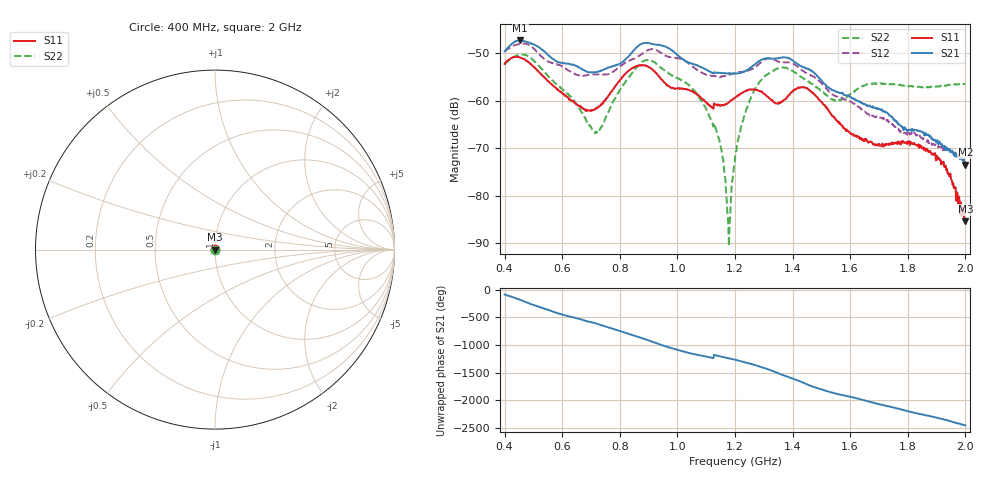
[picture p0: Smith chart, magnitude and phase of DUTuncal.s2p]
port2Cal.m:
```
clear all
clc


%  %%%%%%%%%%%%%%%%%%%%%%%%%%%%%%%%%%%%%%%%%%%%%% Calibrated using garbage VNA  and it is software  

       
fid_meas = fopen('dut_correct_data_pocket_system.s2p','r'); 
data_meas = textscan(fid_meas,'%f %f %f %f %f %f %f  %f %f %f %f','HeaderLines',4);
formated_data_meas = cell2mat(data_meas);

real_meas=formated_data_meas(:,2);
imag_meas=formated_data_meas(:,3);
VNAcorS11(:,1) = real_meas+j*imag_meas;

real_meas2=formated_data_meas(:,4);
imag_meas2=formated_data_meas(:,5);
VNAcorS21(:,1) = real_meas2+j*imag_meas2;

real_meas3=formated_data_meas(:,6);
imag_meas3=formated_data_meas(:,7);
VNAcorS12(:,1) = real_meas3+j*imag_meas3;

real_meas4=formated_data_meas(:,8);
imag_meas4=formated_data_meas(:,9);
VNAcorS22(:,1) = real_meas4+j*imag_meas4;




%%%%% Declaration in the table
C0=-4.3* 1e-15
C1= 0.1 * 1e-27
C2=-11.5*1e-36
C3=0.12*1e-45


%%%%%%%%%%%%%%%%%%%%%%%%%%%%%%%%%%%%%%%%%%%%%%short calc

fid1 = fopen('short_p1.s2p','r'); 
data = textscan(fid1,'%f %f %f %f %f %f %f  %f %f %f %f','HeaderLines',4);
formated_data = cell2mat(data);

real1=formated_data(:,2);
imag1=formated_data(:,3);
Gs1short(:,1) = real1+j*imag1;

        f=formated_data(:,1);

%%%%% mm to m conversion of lenth
l=8.4973 * 10^-3

% %%%%%%%%%%%%%%%%%%%%%%%%%%%%%%%%%
% f=1.5*10^9:0.006875000*10^9:7*10^9    

c= physconst('LightSpeed')
z0=50
%%%%%%%%%%%%%%%%%%%%%%%%%%%%%%%%%%%%%%%
lambda = c./f
Beta=(2*pi)./lambda
%%%%%%%%%%%%%%%%%%%%%%%%%%%%%%%%%%%%%%%%%%%%%%%%%%%%%%%%%%%%%%%%% reflection of open

Ce= (C0) + (C1.*f)+(C2*f.^2)+(C3*f.^3)

Grefl_open = rot90 (((1-2*j.*pi.*f.*Ce.*z0)./(1+2.*pi.*Ce.*z0)).*exp(-2j.*Beta.*l))
%%%%%%%%%%%%%%%%%%%%%%%%%%%%%%%%%%%%%%%%%%%%%%%%%%%%%%%%%%%%%%%%%%%%%%%%%%%%%%%%%%%%%%%%%%%%%%%%%%%%%%%%%%%%%%%%%%%%%%%%%%%%%%%%%%
%%%%%%%%%%%%%%%%%%%%%%%%%%%%%%%%%%%%%%%%%%%%%%short calc

L=0

Grefl_short = rot90( ((j*2.*pi.*f.*L - z0)./(j.*2.*pi.*L + z0)).*exp(-2j.*Beta.*l) )
        
 %%%%%%%%%%%%%%%%%%%%%%%%%%%%%%%%%%%%%%%%%%%%%%open calc       
fid2 = fopen('open_p1.s2p','r'); 
data2 = textscan(fid2,'%f %f %f %f %f %f %f  %f %f %f %f','HeaderLines',4);
formated_data2 = cell2mat(data2);

real2=formated_data2(:,2);
imag2=formated_data2(:,3);
Gs2open(:,1) = real2+j*imag2;
        
 %%%%%%%%%%%%%%%%%%%%%%%%%%%%%%%%%%%%%%%%%%%%%%load      
        fid3 = fopen('load_p1.s2p','r'); 
data8 = textscan(fid3,'%f %f %f %f %f %f %f  %f %f %f %f','HeaderLines',4);
formated_data8 = cell2mat(data8);

real9=formated_data8(:,2);
imag9=formated_data8(:,3);
Gs3load(:,1) = real9+j*imag9;
              %%%%%%%%%%%%%%%%%%%%%%%%%%%%%%%%%%%%%%%%%%%%%%  
%%%%%%%%%%%%%%%%%%%%%%%%%%%%%%%%%%%%%%%%%%%%%%
%%%%%%%%%%%%%%%%%%%%%%%%%%%%%%%%%%%%%%%%%%%%%%%%%%%%%%%%%%%%%%%%%%%%%%%%%%%%%%%%%%%%%%%%%%%%
  %%%%%%%%%%%%%%%%%%%%%%%%%%%%%%%%%%%%%%%%%%%%%%Gdutm     UNCAL data of the
  %%%%%%%%%%%%%%%%%%%%%%%%%%%%%%%%%%%%%%%%%%%%%%two port
fid4 = fopen('DUTuncal.s2p','r'); 
data4 = textscan(fid4,'%f %f %f %f %f %f %f  %f %f %f %f','HeaderLines',4);
formated_data4 = cell2mat(data4);
%%%%%%%%%%%%%%%%%%%%%%%%%%%%%%%%%%%%%%%%%%%%%%
real4=formated_data4(:,2);
imag4=formated_data4(:,3);
Gdutm(:,1) = real4+j*imag4;  
Gmes(:,1)= real4+j*imag4;  %%%%%%s11
%%%%%%%%%%%%%%%%%%%%%%%%%%%%%%%%%%%%%%%%%%%%%%
%%%%%%%%%%%%%%%%%%%%%%%%%%%%%%%%%%%%%%%%%%%%%%
realmescon=formated_data4(:,4); 
imagmescon=formated_data4(:,5);
Gmescon(:,1) = realmescon+j*imagmescon; %%%%%%s21
%%%%%%%%%%%%%%%%%%%%%%%%%%%%%%%%%%%%%%%%%%%%%%
realGmescon_r=formated_data4(:,6);
imagGmescon_r=formated_data4(:,7);
Gmescon_r(:,1) = realGmescon_r+j*imagGmescon_r; %%%%%%s12
%%%%%%%%%%%%%%%%%%%%%%%%%%%%%%%%%%%%%%%%%%%%%%
realGmes_r=formated_data4(:,8);
imagGmes_r=formated_data4(:,9);
Gmes_r(:,1) = realGmes_r+j*imagGmes_r;
Gdutm_r(:,1) = realGmes_r+j*imagGmes_r; %%%%%%s22
%%%%%%%%%%%%%%%%%%%%%%%%%%%%%%%%%%%%%%%%%%%%%%
%%%%%%%%%%%%%%%%%%%%%%%%%%%%%%%%%%%%%%%%%%%%%%
%%%%%%%%%%%%%%%%%%%%%%%%%%%%%%%%%%%%%%%%%%%%%%
%%%%%%%%%%%%%%%%%%%%%%%%%%%%%%%%%%%%%%%%%%%%%%
%%%%%%%%%%%%%%%%%%%%%%%%%%%%%%%%%%%%%%%%%%%%%%
%%%%%%%%%%%%%%%%%%%%%%%%%%%%%%%%%%%%%%%%%%%%%%%%%%%%%%%%%%%%%%%%%%%%%%%%%%%%%%%%%%
Grefl_load=zeros(length(f),1);  %Grefl_load=1 Cannot be one




for i=1:length(f)   %The index has to have two terms removed because it starts with 1 and 1 already
        A=[1,Grefl_short(i).*Gs1short(i),-Grefl_short(i);1,Grefl_open(i).*Gs2open(i),-Grefl_open(i);1,Grefl_load(i).*Gs3load(i),-Grefl_load(i)];
        B=[Gs1short(i);Gs2open(i);Gs3load(i)];
        X=linsolve(A,B); %Calculated error terms
        e00(i,1)=X(1,1); %Directivity
        e11(i,1)=X(2,1); %Source Match
        delta_e(i,1)=X(3,1);
end

e10e01=(e00.*e11)-delta_e; %Reflection Tracking


%%%%%%%%%%%%%%%%%%%%%%%%%%%%%%%%%%%%Final part
R=(Gdutm-e00)./((Gdutm.*e11)-delta_e); %Real correct S11



 %%%%%%%%%%%%%%%%%%%%%%%%%%%%%%%%%%%%%%%%%%%%%%Gdutm  
 %%%%%%%%%%%%%%%%%%%%%%%%%%%%%%%%%%%%%%%%%%%%%%Gdutm  
 %%%%%%%%%%%%%%%%%%%%%%%%%%%%%%%%%%%%%%%%%%%%%%Gdutm     
% fid5 = fopen('DUTcal.s2p','r');  
% data5 = textscan(fid5,'%f %f %f %f %f %f %f  %f %f %f %f','HeaderLines',4);
% formated_data5 = cell2mat(data5);
% 
% real5=formated_data5(:,2);
% imag5=formated_data5(:,3);
% Gmes(:,1) = real5+j*imag5; %%%%measured calibrated
% 
%  
% figure(1)
% plot(f/10^9,db(R),'-red',f/10^9,db(Gmes),'-blue',f/10^9,db(Gdutm),'-black')
% grid on
% legend('Corrected from Process','Measured in reality','not calibrated')
% xlabel('Frequency in GHz')
% ylabel('Magnitude')
% 
% figure(2)
% plot(f/10^9,unwrap(angle(R)),'-red',f/10^9,unwrap(angle(Gmes)),'-blue',f/10^9,unwrap(angle(Gdutm)),'-black')
% grid on
% legend('Corrected from Process','Measured in reality','not calibrated')
% xlabel('Frequency in GHz')
% ylabel('Angle')
% %e10e01=e00*e11-delta_e
% %Gdut= (1/e11)*((e00-Gdutm)/(e00-((e10e01)/e11)-Gdutm))
% 

% figure(3)
% plot(f/10^9,db(e00),'-red',f/10^9,db(e11),'-blue',f/10^9,db(delta_e),'-black')
% grid on
% legend('Directivity','Source Match','Tracking?')
% xlabel('Frequency in GHz')
% ylabel('Angle')
 %%%%%%%%%%%%%%%%%%%%%%%%%%%%%%%%%%%%%%%%%%%%%% %%%%%%%%%%%%%%%%%%%%%%%%%%%%%%%%%%%%%%%%%%%%%%
  %%%%%%%%%%%%%%%%%%%%%%%%%%%%%%%%%%%%%%%%%%%%%%
   %%%%%%%%%%%%%%%%%%%%%%%%%%%%%%%%%%%%%%%%%%%%%%
    %%%%%%%%%%%%%%%%%%%%%%%%%%%%%%%%%%%%%%%%%%%%%%
     %%%%%%%%%%%%%%%%%%%%%%%%%%%%%%%%%%%%%%%%%%%%%%
      %%%%%%%%%%%%%%%%%%%%%%%%%%%%%%%%%%%%%%%%%%%%%%



      % %%%%%%%%%%%%%%%%%%%%%%%%%%%%%%%%%%%%%%%%%%%%%%
% 
% %%%%%%%Connect ports with termination to get e30 e03 Leakage (good VNA no need
% %%%%%%%to connect termination
% 
%  filenames6='p1p2 uncal no bridge for s21.s2p';
%  data6 = read(rfdata.data,filenames6);
%     s_params6 = extract(data6,'S_PARAMETERS',50);

    %%%%%%%%%%%%%%%%%%%%%%%%%%%%%%%%%%%%%%%%%%%%%%%%%%%%%%%
%         e30(:,1) = s_params6(2,1,:); %Leakage
%         e03_r(:,1) = s_params6(1,2,:); % Reverse leakage FOR PORT 2

        e30(:,1) = zeros(length(f),1); %Leakage
        e03_r(:,1) = zeros(length(f),1); % Reverse leakage FOR PORT 2

 %%%%%%%%%%%%%%%%%%%%%%%%%%%%%%%%%%%%%%%%%%%%%%%%%%%%%%



%%%%%%Connect ports together -> P1 + P2
fid5 = fopen('pocket_thru.s2p','r'); 
    data5 = textscan(fid5,'%f %f %f %f %f %f %f  %f %f %f %f','HeaderLines',4);
formated_data5 = cell2mat(data5);

realS11m=formated_data5(:,2);
imagS11m=formated_data5(:,3);

realS21m=formated_data5(:,4);
imagS21m=formated_data5(:,5);

realS12m=formated_data5(:,6);
imagS12m=formated_data5(:,7);

realS22m=formated_data5(:,8);
imagS22m=formated_data5(:,9);

%%%%%%%%%%%%%%%%%%%%%%%%%%%%%%%%%%%%%%%%%%%%%%%%%%%%%%%
S11M(:,1) = realS11m+j*imagS11m;
%%%%%%%%%%%%%%%%%%%%%%%%%%%%%%%%%%%%%%%%%%%%%%%%%%%%%%%
S21M(:,1) = realS21m+j*imagS21m;
%%%%%%%%%%%%%%%%%%%%%%%%%%%%%%%%%%%%%%%%%%%%%%%%%%%%%%%
S12M(:,1) = realS12m+j*imagS12m;
%%%%%%%%%%%%%%%%%%%%%%%%%%%%%%%%%%%%%%%%%%%%%%%%%%%%%%%
S22M(:,1) = realS22m+j*imagS22m;
%%%%%%%%%%%%%%%%%%%%%%%%%%%%%%%%%%%%%%%%%%%%%%%%%%%%%%%

%%%%%%%%%%%%%%%%%%%%%%%%%%%%%%%%%%%%%%%%%%%%%%%%%%%%%%%
e22=(S11M-e00)./(S11M.*e11-delta_e) %Port 2 match forward
e10e32=(S21M-e30).*(1-e11.*e22)   %transmission tracking
%%%%%%%%%%%%%%%%%%%%%%%%%%%%%%%%%%%%%%%%%%%%%%%%%%%%%%%

% %%%%%%%%%%%%%%%%%%%%%%%%%%%%%%%%%%%%%%%%%%%%%%%%%%%%%%%%%%%%
% %%%%%%%%%%%%%%%%%%%%%%%%%%%%%%%%%%%%%%%%%%%%%%%%%%%%%%%%%%%%
% %%%%%%%%%%%%%%%%%%%%%%%%%%%%%%%%%%%%%%%%%%%%%%%%%%%%%%%%%%%%
% %%%%%%%%%%%%%%%%%%%%%%%%%%%%%%%%%%%%%%%%%%%%%%%%%%%%%%%%%%%%
% %%%%%%%%%%%%%%%%%%%%%%%%%%%%%%%%%%%%%%%%%%%%%%%%%%%%%%%%%%%%
% %%%%%%%%%%%%%%%%%%%%%%%%%%%%%%%%%%%%%%%%%%%%%%%%%%%%%%%%%%%%
% %%%%%%%%%%%%%%%%%%%%%%%%%%%%%%%%%%%%%%%%%%%%%%%%%%%%%%%%%%%%
% %%%%%%%%%%%%%%%%%%%%%%%%%%%%%%%%%%%%%%%%%%%%%%%%%%%%%%%%%%%%
% %%%%%%%%%%%%%%%%%%%%%%%%%%%%%%%%%%%%%%%%%%%%%%%%%%%%%%%%%%%%
% %%%%%%%%%%%%%%%%%%%%%%%%%%%%%%%%%%%%%%%%%%%%%%%%%%%%%%%%%%%%
% %%%%%%%%%%%%%%%%%%%%%%%%%%%%%%%%%%%%%%%%%%%%%%%%%%%%%%%%%%%%
% %%%%%%%%%%%%%%%%%%%%%%%%%%%%%%%%%%%%%%%%%%%%%%%%%%%%%%%%%%%%
% %%%%%%%%%%%%%%%%%%%%%%%%%%%%%%%%%%%%%%%This is forward mode, now need
% %%%%%%%%%%%%%%%%%%%%%%%%%%%%%%%%%%%%%%%reverse

fidsp2 = fopen('short_p2.s2p','r'); 
datasp2  = textscan(fidsp2 ,'%f %f %f %f %f %f %f  %f %f %f %f','HeaderLines',4);
formated_datasp2 = cell2mat(datasp2);

realsp2=formated_datasp2(:,8);
imagsp2=formated_datasp2(:,9);
Gs4short(:,1)  = realsp2+j*imagsp2;




fidop2 = fopen('open_p2.s2p','r'); 
dataop2 = textscan(fidop2,'%f %f %f %f %f %f %f  %f %f %f %f','HeaderLines',4);
formated_dataop2 = cell2mat(dataop2);
realop2=formated_dataop2(:,8);
imagop2=formated_dataop2(:,9);
Gs5open(:,1)   = realop2+j*imagop2;


fidlp2 = fopen('load_p2.s2p','r'); 
datalp2 = textscan(fidlp2,'%f %f %f %f %f %f %f  %f %f %f %f','HeaderLines',4);
formated_datalp2 = cell2mat(datalp2);
reallp2=formated_datalp2(:,8);
imaglp2=formated_datalp2(:,9);
Gs6load(:,1)   = reallp2+j*imaglp2;



% 
%%%%%%%%%%%%%%%%%%%%%%%%%%%%%%%%%%%%%%%%%%Reverse mode

        for i=1:length(f)   
        C=[1,Grefl_short(i).*Gs4short(i),-Grefl_short(i);1,Grefl_open(i).*Gs5open(i),-Grefl_open(i);1,Grefl_load(i).*Gs6load(i),-Grefl_load(i)];
        D=[Gs4short(i);Gs5open(i);Gs6load(i)];
        Y=linsolve(C,D); %Calculated error terms
        e33_r(i,1)=Y(1,1); %Directivity
        e11_r(i,1)=Y(2,1); %Source Match
        delta_e_r(i,1)=Y(3,1);
end


Rs22=(Gdutm_r-e33_r)./((Gdutm_r.*e11_r)-delta_e_r);
%%%%%%%%%%%%%%%%%%%%%%%%%%%%%%%%%%%%%%%%%%%%%%%  
e23e32_r=(e33_r.*e11_r)-delta_e_r; %Reflection Tracking reverse
e22_r=(S22M-e33_r)./(S22M.*e11_r-delta_e_r) %%%% Port 2 match reverse 
e23e01_r=(S12M-e03_r).*(1-e11_r.*e22_r) %%%% Transmission tracking reverse


%%%%%%%%%%%%%%%%%%%%%%%%%%%%%%%%%%%%%%%REVERSE MODE ENDS HERE
%%%%%%%%%%%%%%%%%%%%%%%%%%%%%%%%%%%%%%%%%%%%%

% %%%%%%%%%%%%%%%%%%%%%%%%%%%%%%%%%%%%%%%%%%%%%%%%%%%%%%%%%%%%
% %%%%%%%%%%%%%%%%%%%%%%%%%%%%%%%%%%%%%%%%%%%%%%%%%%%%%%%%%%%%
% %%%%%%%%%%%%%%%%%%%%%%%%%%%%%%%%%%%%%%%%%%%%%%%%%%%%%%%%%%%%
% %%%%%%%%%%%%%%%%%%%%%%%%%%%%%%%%%%%%%%%%%%%%%%%%%%%%%%%%%%%%
% %%%%%%%%%%%%%%%%%%%%%%%%%%%%%%%%%%%%%%%%%%%%%%%%%%%%%%%%%%%%
% %%%%%%%%%%%%%%%%%%%%%%%%%%%%%%%%%%%%%%%%%%%%%%%%%%%%%%%%%%%%
% %%%%%%%%%%%%%%%%%%%%%%%%%%%%%%%%%%%%%%%%%%%%%%%%%%%%%%%%%%%%
% %%%%%%%%%%%%%%%%%%%%%%%%%%%%%%%%%%%%%%%%%%%%%%%%%%%%%%%%%%%%
% %%%%%%%%%%%%%%%%%%%%%%%%%%%%%%%%%%%%%%%%%%%%%%%%%%%%%%%%%%%%
% %%%%%%%%%%%%%%%%%%%%%%%%%%%%%%%%%%%%%%%%%%%%%%%%%%%%%%%%%%%%
% %%%%%%%%%%%%%%%%%%%%%%%%%%%%%%%%%%%%%%%%%%%%%%%%%%%%%%%%%%%%
% %%%%%%%%%%%%%%%%%%%%%%%%%%%%%%%%%%%%%%%%%%%%%%%%%%%%%%%%%%%%
% %%%%%%%%%%%%%%%%%%%%%%%%%%%%%%%%%%%%%%%Measured Sparameters starts here
D=(1+((Gmes-e00)./e10e01).*e11).*(1+((Gmes_r-e33_r)./e23e32_r).*e22_r)...
    -((Gmescon-e30)./(e10e32)).*((Gmescon_r-e03_r)./(e23e01_r)).*e22.*e11_r    ;


% %%%%%%%%%%%%%%%%%%%%%%%%%%%%%%%%%%%%%%%
S11cor=((Gmes-e00)./e10e01).*(1+((Gmes_r-e33_r)./e23e32_r).*e22_r)-e22.*((Gmescon-e30)./(e10e32)).*((Gmescon_r-e03_r)./(e23e01_r))./D 
S22cor=((Gmes_r-e33_r)./e23e32_r).*(1+((Gmes-e00)./e10e01).*e11)-e11_r.*((Gmescon-e30)./(e10e32)).*((Gmescon_r-e03_r)./(e23e01_r))./D
% %%%%%%%%%%%%%%%%%%%%%%%%%%%%%%%%%%%%%%%




% %%%%%%%%%%%%%%%%%%%%%%%%%%%%%%%%%%%%%%%
S21cor=(((Gmescon-e30)./(e10e32)).*(1+(Gmes_r-e33_r)./(e23e32_r).*(e22_r-e22)))./D    ;
S12cor=(((Gmescon_r-e03_r)./(e23e01_r)).*(1+(Gmes-e00)./(e10e01).*(e11-e11_r)))./D    ;
% %%%%%%%%%%%%%%%%%%%%%%%%%%%%%%%%%%%%%%%



% %%%%%%%%%%%%%%%%%%%%%%%%%%%%%%%%%%%%%%%%%%%%%%%%%%%%%%%%%%%%
% %%%%%%%%%%%%%%%%%%%%%%%%%%%%%%%%%%%%%%%%%%%%%%%%%%%%%%%%%%%%
% %%%%%%%%%%%%%%%%%%%%%%%%%%%%%%%%%%%%%%%%%%%%%%%%%%%%%%%%%%%%
% %%%%%%%%%%%%%%%%%%%%%%%%%%%%%%%%%%%%%%%%%%%%%%%%%%%%%%%%%%%%
% %%%%%%%%%%%%%%%%%%%%%%%%%%%%%%%%%%%%%%%%%%%%%%%%%%%%%%%%%%%%
% %%%%%%%%%%%%%%%%%%%%%%%%%%%%%%%%%%%%%%%%%%%%%%%%%%%%%%%%%%%%
% %%%%%%%%%%%%%%%%%%%%%%%%%%%%%%%%%%%%%%%%%%%%%%%%%%%%%%%%%%%%
% %%%%%%%%%%%%%%%%%%%%%%%%%%%%%%%%%%%%%%%%%%%%%%%%%%%%%%%%%%%%
% %%%%%%%%%%%%%%%%%%%%%%%%%%%%%%%%%%%%%%%%%%%%%%%%%%%%%%%%%%%%
% %%%%%%%%%%%%%%%%%%%%%%%%%%%%%%%%%%%%%%%%%%%%%%%%%%%%%%%%%%%%
% %%%%%%%%%%%%%%%%%%%%%%%%%%%%%%%%%%%%%%%%%%%%%%%%%%%%%%%%%%%%
figure(1) %%%%%%%%%%%%%%%%%%%%%%%%%%%%%%%%%%%%%%%%%%%
plot(f/10^9,db(e00),'-red',f/10^9,db(e11),'-blue',f/10^9,db(delta_e),'-black')
grid on
title('Port 1 Error terms')
legend('Directivity','Source Match','Tracking?')
xlabel('Frequency in GHz')
ylabel('Error Term value')

figure(2) %%%%%%%%%%%%%%%%%%%%%%%%%%%%%%%%%%%%%%%%%%%
plot(f/10^9,db(e33_r),'-red',f/10^9,db(e11_r),'-blue',f/10^9,db(delta_e_r),'-black')
grid on
title('Port 2 Error terms')
legend('Directivity','Source Match','Tracking?')
xlabel('Frequency in GHz')
ylabel('Error Term value')



figure(3) %%%%%%%%%%%%%%%%%%%%%%%%%%%%%%%%%%%%%%%%%%%
plot(f/10^9,db(R),'-red',f/10^9,db(Rs22),'-blue',f/10^9,db(VNAcorS11),'--r',f/10^9,db(VNAcorS22),'--blue')
grid on
title('Corrected S11/S22')
legend('Corrected S11','Corrected S22','PocketS11','PocketS22')
xlabel('Frequency in GHz')
ylabel('dB')


figure(4) %%%%%%%%%%%%%%%%%%%%%%%%%%%%%%%%%%%%%%%%%%%
plot(f/10^9,db(S21cor),'-red',f/10^9,db(S12cor),'-blue',f/10^9,db(VNAcorS21),'--r',f/10^9,db(VNAcorS12),'--blue')
grid on
title('Corrected S21/S12')
legend('Corrected S21','Corrected S12','PocketS21','PocketS12')
xlabel('Frequency in GHz')
ylabel('dB')
```
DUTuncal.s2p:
! PocketVna 1.60  pocketvna.com
! Live measurements ((Reflection-S11, Transmission-S21, Transmission-S12, Reflection-S22) Linear 400000000-2000000000/800 non-calibrated)
# Hz S RI R 50
! Hz  ReS11  ImS11  ReS21  ImS21  ReS12  ImS12  ReS22  ImS22
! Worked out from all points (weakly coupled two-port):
!   800 points, 400 MHz to 2 GHz, reference 50 ohm
!   highest |S21| = -47.35 dB at 454.1 MHz (marker M1); lowest = -73.5 dB at 2 GHz (marker M2)
!   lowest |S11| = -85.4 dB at 2 GHz (marker M3), VSWR 1.00, Z = 50 - j0.00279 ohm
!   |S11| at or under -10 dB: start of sweep to end of sweep
!   |S22| runs from -90.6 to -50.3 dB; largest |S21 - S12| = 0.0056
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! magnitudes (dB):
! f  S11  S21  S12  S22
! 400 MHz  -52.3  -49.6  -49.7  -52.4
! 454.1 MHz  -50.9  -47.3  -48.1  -50.3
! 716.4 MHz  -61.6  -54.0  -54.5  -66.6
! 912.6 MHz  -53.4  -48.1  -49.2  -51.7
! 1.091 GHz  -59.8  -53.2  -54.3  -60.8
! 1.177 GHz  -60.4  -54.3  -54.6  -86.6
! 1.201 GHz  -59.4  -54.3  -54.3  -71.4
! 1.265 GHz  -57.6  -52.6  -53.2  -58.1
! 1.351 GHz  -60.7  -51.0  -51.8  -53.1
! 1.449 GHz  -57.4  -53.2  -54.3  -55.8
! 2 GHz  -85.4  -73.5  -73.0  -56.5
